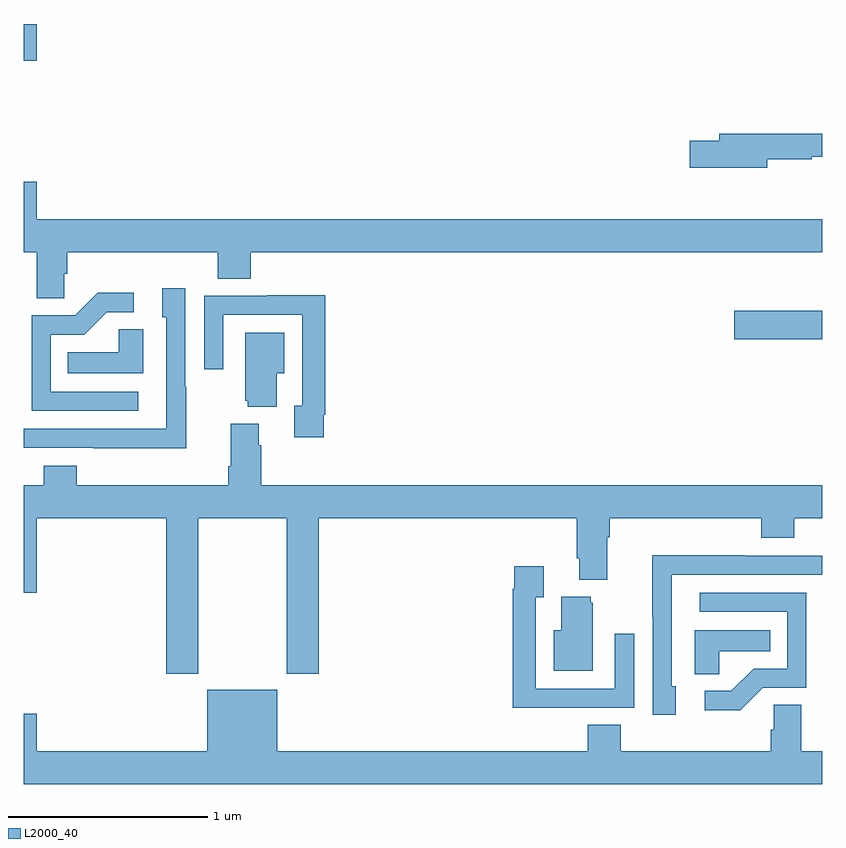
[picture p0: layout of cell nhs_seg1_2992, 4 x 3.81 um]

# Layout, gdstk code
import gdstk
lib = gdstk.Library(unit=1e-6, precision=1e-09)
def R(c, l, rs):  # rectangles x0, y0, x1, y1
    for r in rs: c.add(gdstk.rectangle(r[:2], r[2:], *l))
def P(c, l, *ps):  # polygons
    for p in ps: c.add(gdstk.Polygon(p, *l))
L2000_40 = (2000, 40)

nhs_seg1_2992 = lib.new_cell('nhs_seg1_2992')
R(nhs_seg1_2992, L2000_40, [(276.558,560.621,277,560.763), (273,562.014,273.064,562.199)])
P(nhs_seg1_2992, L2000_40, [(276.724,561.522),(276.947,561.522),(276.947,561.534),(277,561.534),(277,561.65),(276.485,561.65),(276.485,561.614),(276.336,561.614),(276.336,561.479),(276.724,561.479)],
  [(273.204,560.947),(273.218,560.947),(273.218,561.056),(273.971,561.056),(273.971,560.923),(274.136,560.923),(274.136,561.056),(277,561.056),(277,561.22),(273.064,561.22),(273.064,561.409),(273,561.409),(273,561.056),(273.065,561.056),(273.065,560.824),(273.204,560.824)],
  [(273.813,560.381),(273.81,560.381),(273.81,560.875),(273.695,560.875),(273.695,560.73),(273.714,560.73),(273.714,560.172),(273,560.172),(273,560.076),(273.349,560.076),(273.349,560.075),(273.813,560.075)],
  [(273.574,560.358),(273.135,560.358),(273.135,560.643),(273.304,560.643),(273.415,560.754),(273.55,560.754),(273.55,560.852),(273.371,560.852),(273.258,560.739),(273.039,560.739),(273.039,560.262),(273.574,560.262)],
  [(274.504,560.242),(274.511,560.242),(274.511,560.84),(274.219,560.84),(274.219,560.838),(273.903,560.838),(273.903,560.469),(273.999,560.469),(273.999,560.742),(274.395,560.742),(274.395,560.286),(274.355,560.286),(274.355,560.13),(274.504,560.13)],
  [(273.598,560.669),(273.477,560.669),(273.477,560.554),(273.22,560.554),(273.22,560.45),(273.598,560.45)],
  [(274.267,560.45),(274.306,560.45),(274.306,560.653),(274.109,560.653),(274.109,560.313),(274.121,560.313),(274.121,560.282),(274.267,560.282)],
  [(273.873,559.724),(274.318,559.724),(274.318,558.945),(274.478,558.945),(274.478,559.724),(275.771,559.724),(275.771,559.522),(275.783,559.522),(275.783,559.415),(275.923,559.415),(275.923,559.628),(275.936,559.628),(275.936,559.724),(276.695,559.724),(276.695,559.625),(276.86,559.625),(276.86,559.724),(277,559.724),(277,559.888),(274.19,559.888),(274.19,560.09),(274.177,560.09),(274.177,560.197),(274.037,560.197),(274.037,559.984),(274.025,559.984),(274.025,559.888),(273.266,559.888),(273.266,559.987),(273.101,559.987),(273.101,559.888),(273,559.888),(273,559.35),(273.064,559.35),(273.064,559.724),(273.713,559.724),(273.713,558.945),(273.873,558.945)],
  [(276.265,558.882),(276.246,558.882),(276.246,559.44),(277,559.44),(277,559.536),(276.611,559.536),(276.611,559.538),(276.148,559.538),(276.148,559.231),(276.15,559.231),(276.15,558.738),(276.265,558.738)],
  [(275.741,558.774),(276.057,558.774),(276.057,559.144),(275.961,559.144),(275.961,558.87),(275.565,558.87),(275.565,559.327),(275.605,559.327),(275.605,559.483),(275.457,559.483),(275.457,559.37),(275.449,559.37),(275.449,558.773),(275.741,558.773)],
  [(276.702,558.873),(276.921,558.873),(276.921,559.35),(276.387,559.35),(276.387,559.254),(276.825,559.254),(276.825,558.969),(276.656,558.969),(276.545,558.858),(276.411,558.858),(276.411,558.761),(276.589,558.761)],
  [(275.851,559.299),(275.84,559.299),(275.84,559.33),(275.693,559.33),(275.693,559.162),(275.654,559.162),(275.654,558.959),(275.851,558.959)],
  [(276.483,559.058),(276.74,559.058),(276.74,559.162),(276.362,559.162),(276.362,558.943),(276.483,558.943)],
  [(277,558.556),(276.895,558.556),(276.895,558.788),(276.756,558.788),(276.756,558.665),(276.743,558.665),(276.743,558.556),(275.99,558.556),(275.99,558.689),(275.825,558.689),(275.825,558.556),(274.27,558.556),(274.27,558.865),(273.92,558.865),(273.92,558.556),(273.064,558.556),(273.064,558.745),(273,558.745),(273,558.392),(277,558.392)])

lib.write_gds('nhs_seg1_2992.gds')
